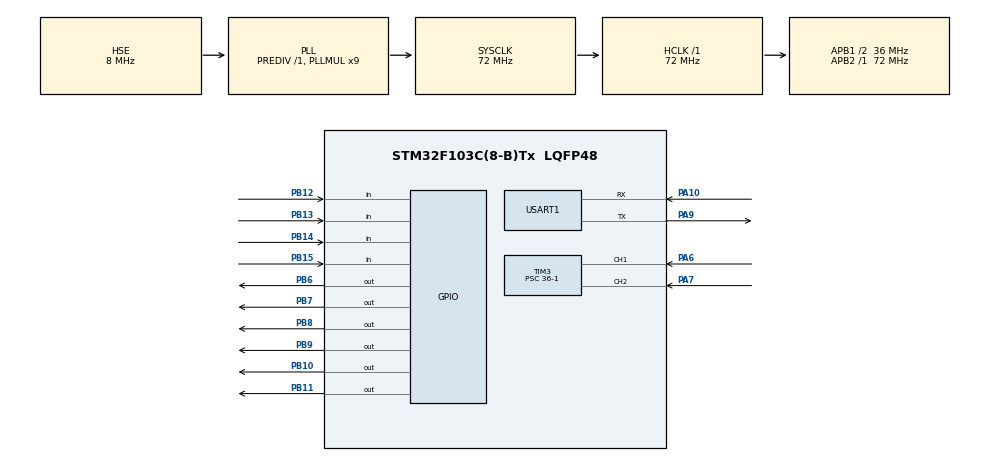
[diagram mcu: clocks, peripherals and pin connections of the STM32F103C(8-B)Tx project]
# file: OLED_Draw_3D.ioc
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Mcu.Family=STM32F1
Mcu.Name=STM32F103C(8-B)Tx
Mcu.Package=LQFP48
NVIC.PriorityGroup=NVIC_PRIORITYGROUP_4
NVIC.TIM2_IRQn=true\:0\:0\:false\:false\:true\:true\:true\:true
NVIC.TIM3_IRQn=true\:0\:0\:false\:false\:true\:true\:true\:true
PA10.Mode=Multiprocessor_communication
PA10.Signal=USART1_RX
PA13.Mode=Serial_Wire
PA13.Signal=SYS_JTMS-SWDIO
PA14.Mode=Serial_Wire
PA14.Signal=SYS_JTCK-SWCLK
PA6.Signal=S_TIM3_CH1
PA7.Signal=S_TIM3_CH2
PA9.Mode=Multiprocessor_communication
PA9.Signal=USART1_TX
PB10.Signal=GPIO_Output
PB11.Signal=GPIO_Output
PB12.GPIO_PuPd=GPIO_PULLDOWN
PB12.Signal=GPIO_Input
PB13.GPIO_PuPd=GPIO_PULLDOWN
PB13.Signal=GPIO_Input
PB14.GPIO_PuPd=GPIO_PULLDOWN
PB14.Signal=GPIO_Input
PB15.GPIO_PuPd=GPIO_PULLDOWN
PB15.Signal=GPIO_Input
PB6.Signal=GPIO_Output
PB7.Signal=GPIO_Output
PB8.Signal=GPIO_Output
PB9.Signal=GPIO_Output
PD0-OSC_IN.Mode=HSE-External-Oscillator
PD0-OSC_IN.Signal=RCC_OSC_IN
PD1-OSC_OUT.Mode=HSE-External-Oscillator
PD1-OSC_OUT.Signal=RCC_OSC_OUT
ProjectManager.HeapSize=0x200
ProjectManager.StackSize=0x400
ProjectManager.TargetToolchain=MDK-ARM V5.32
RCC.AHBFreq_Value=72000000
RCC.APB1CLKDivider=RCC_HCLK_DIV2
RCC.APB1Freq_Value=36000000
RCC.APB1TimFreq_Value=72000000
RCC.APB2Freq_Value=72000000
RCC.APB2TimFreq_Value=72000000
RCC.HCLKFreq_Value=72000000
RCC.PLLMUL=RCC_PLL_MUL9
RCC.PLLSourceVirtual=RCC_PLLSOURCE_HSE
RCC.SYSCLKFreq_VALUE=72000000
RCC.SYSCLKSource=RCC_SYSCLKSOURCE_PLLCLK
RCC.USBFreq_Value=72000000
SH.S_TIM3_CH1.0=TIM3_CH1,Input_Capture1_from_TI1
SH.S_TIM3_CH2.0=TIM3_CH2,Input_Capture2_from_TI2
TIM2.AutoReloadPreload=TIM_AUTORELOAD_PRELOAD_ENABLE
TIM2.Period=1000-1
TIM2.Prescaler=720-1
TIM3.AutoReloadPreload=TIM_AUTORELOAD_PRELOAD_ENABLE
TIM3.Channel-Input_Capture1_from_TI1=TIM_CHANNEL_1
TIM3.Channel-Input_Capture2_from_TI2=TIM_CHANNEL_2
TIM3.Period=2000-1
TIM3.Prescaler=36-1
USART1.VirtualMode=VM_ASYNC
VP_TIM2_VS_ClockSourceINT.Mode=Internal
VP_TIM3_VS_ClockSourceINT.Mode=Internal
board=custom

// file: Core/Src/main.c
/* USER CODE BEGIN Header */
/**
  ******************************************************************************
  * @file           : main.c
  * @brief          : Main program body
  ******************************************************************************
  * @attention
  *
  * Copyright (c) 2025 STMicroelectronics.
  * All rights reserved.
  *
  * This software is licensed under terms that can be found in the LICENSE file
  * in the root directory of this software component.
  * If no LICENSE file comes with this software, it is provided AS-IS.
  *
  ******************************************************************************
  */
/* USER CODE END Header */
#include "main.h"

/* USER CODE BEGIN Includes */
#include "OLED.h"
#include "Delay.h"
#include "MadgwickAHRS.h"
#include "MPU6050.h"
#include "stdio.h"
#include "Draw_3D.h"
#include "3D_Map.h"
#include "NRF24L01.h"
#include "Menu.h"
#include "encoder.h"
#include "My_Interrupt.h"
/* USER CODE END Includes */

/* USER CODE BEGIN PTD */
MPU6050Params mpu6050 = {
        .MPU6050dt = 10,
        .preMillis = 0,
        .MPU6050ERROE = {0.0f, 0.0f, 0.0f, 0.0f, 0.0f, 0.0f}
};

SensorMsg msg = {
        .A = {0.0f, 0.0f, 0.0f},
        .G = {0.0f, 0.0f, 0.0f}
};

int16_t AX, AY, AZ, GX, GY, GZ;
float x,y,z;
Menu* 	menu_p = &main_menu;
float Yaw = 0;
float Pitch = 0;
float Roll = 0;
float Yaw_copy = 0; // 用于记录Yaw角度的副�??
float Pitch_copy = 0; // 用于记录Pitch角度的副�??
float Roll_copy = 0; // 用于记录Roll角度的副�??
uint8_t Send_Flag = 0; // 用于记录发送标志位
/* USER CODE END PTD */

TIM_HandleTypeDef htim2;
TIM_HandleTypeDef htim3;

UART_HandleTypeDef huart1;

/* USER CODE BEGIN PV */
//避免使用半主机模�?????????
#if 1
#if (__ARMCC_VERSION >= 6010050)
__asm(".global __use_no_semihosting\n\t");
__asm(".global __ARM_use_no_argv \n\t");

#else
#pragma import(__use_no_semihosting)

struct __FILE
{
    int handle;

};

#endif

int _ttywrch(int ch)
{
    ch = ch;
    return ch;
}

void _sys_exit(int x)
{
    x = x;
}

char *_sys_command_string(char *cmd, int len)
{
    return NULL;
}

FILE __stdout;

int fputc(int ch, FILE *f) {
    HAL_UART_Transmit(&huart1, (uint8_t *)&ch, 1, HAL_MAX_DELAY);
    return ch;
}
#endif
/* USER CODE END PV */

void SystemClock_Config(void);
static void MX_GPIO_Init(void);
static void MX_USART1_UART_Init(void);
static void MX_TIM3_Init(void);
static void MX_TIM2_Init(void);

int main(void)
{

  /* MCU Configuration--------------------------------------------------------*/

  /* Reset of all peripherals, Initializes the Flash interface and the Systick. */
  HAL_Init();

  /* Configure the system clock */
  SystemClock_Config();

  /* Initialize all configured peripherals */
  MX_GPIO_Init();
  MX_USART1_UART_Init();
  MX_TIM3_Init();
  MX_TIM2_Init();
  /* USER CODE BEGIN 2 */
	/*Init_Zone*/
	DWT_Init();

  //菜单初始�???
  init_menu_parents();
	OLED_Init();
	OLED_Clear();
	//启动解算
	MPU6050_Init();
	begin(1000.0f / (float)mpu6050.MPU6050dt);    // Initialize the Madgwick filter with the sample frequency
  dataGetERROR();

  // Initialize NRF24L01
  NRF24L01_Init();

  // Initialize encoder

//	uint16_t SendFlag;
// int16_t object_input[MAX_POINT_NUMBER][3] = {0}; // Array to hold the object points
// generate_cube(15, object_input);

  //编码器初始化
  Encoder_Init();
  //启动定时器全�??????中断（定时器中断涉及到数据读取，必须�??????后启动）
  HAL_TIM_Encoder_Start(&htim3, TIM_CHANNEL_ALL);
  HAL_TIM_Base_Start_IT(&htim2);
  Delay_ms(100);
  /* USER CODE END 2 */

  /* Infinite loop */
  while (1)
  {

    /* USER CODE BEGIN 3 */
    //nrf_test(past)

    // SendFlag = NRF24L01_Send();
    // OLED_ShowNum(0, 3*16, SendFlag, 2, OLED_8X16); // Display the first byte of the packet
		//printf("%d\n",uwTick);

		// getMPU6050Data(); // Get data from MPU6050
    // MPU6050_GetData(&AX, &AY, &AZ, &GX, &GY, &GZ); // Get data from MPU6050

    OLED_Clear();

    if(uwTick - mpu6050.preMillis >= mpu6050.MPU6050dt) {
			mpu6050.preMillis = uwTick;
			dataGetAndFilter();
			updateIMU(msg.G[0], msg.G[1], msg.G[2], msg.A[0], msg.A[1], msg.A[2]);
		}
		Yaw = getYaw();
		Pitch = getPitch();
		Roll = getRoll();

    //备份
		Pitch_copy = Pitch;
		Roll_copy = Roll;
		Yaw_copy = Yaw;

    /******菜单显示******/
    //主菜单模式下进行主菜单显示
        //通过最后一级子菜单函数来切换主菜单与功能菜单，主菜单为0
        if(page==0){
            //执行当前菜单下的函数
            if (menu_p->func != NULL)
            {
                // 如果当前菜单有函数，则执行
                menu_p->func();
            }else
            {
                OLED_ShowString(16*4, 16*1, "No Function", OLED_8X16);
            }

            //由于获取菜单动作会消除标志位，会影响到部分函数执行，所以最后执行该动作
            temp = get_menu_action();
            menu_p = menu_navigate(menu_p, (MenuAction)temp);
            OLED_DrawMenu(menu_p);
        }else if (page==1)
        {
            /* code */
            if (menu_p->func != NULL)
            {
                // 如果当前菜单有函数，则执行
                menu_p->func();
            }else
            {
                /* code */
                OLED_ShowString(16*4, 16*2, "No Function", OLED_8X16);
            }
        }

    OLED_Update();

    // Draw the 3D object with the current orientation
		//Draw_Object_By_Map(Yaw, Pitch, Roll, 63, 0, object_input);
  }
  /* USER CODE END 3 */
}

void SystemClock_Config(void)
{
  RCC_OscInitTypeDef RCC_OscInitStruct = {0};
  RCC_ClkInitTypeDef RCC_ClkInitStruct = {0};

  /** Initializes the RCC Oscillators according to the specified parameters
  * in the RCC_OscInitTypeDef structure.
  */
  RCC_OscInitStruct.OscillatorType = RCC_OSCILLATORTYPE_HSE;
  RCC_OscInitStruct.HSEState = RCC_HSE_ON;
  RCC_OscInitStruct.HSEPredivValue = RCC_HSE_PREDIV_DIV1;
  RCC_OscInitStruct.HSIState = RCC_HSI_ON;
  RCC_OscInitStruct.PLL.PLLState = RCC_PLL_ON;
  RCC_OscInitStruct.PLL.PLLSource = RCC_PLLSOURCE_HSE;
  RCC_OscInitStruct.PLL.PLLMUL = RCC_PLL_MUL9;
  if (HAL_RCC_OscConfig(&RCC_OscInitStruct) != HAL_OK)
  {
    Error_Handler();
  }

  /** Initializes the CPU, AHB and APB buses clocks
  */
  RCC_ClkInitStruct.ClockType = RCC_CLOCKTYPE_HCLK|RCC_CLOCKTYPE_SYSCLK
                              |RCC_CLOCKTYPE_PCLK1|RCC_CLOCKTYPE_PCLK2;
  RCC_ClkInitStruct.SYSCLKSource = RCC_SYSCLKSOURCE_PLLCLK;
  RCC_ClkInitStruct.AHBCLKDivider = RCC_SYSCLK_DIV1;
  RCC_ClkInitStruct.APB1CLKDivider = RCC_HCLK_DIV2;
  RCC_ClkInitStruct.APB2CLKDivider = RCC_HCLK_DIV1;

  if (HAL_RCC_ClockConfig(&RCC_ClkInitStruct, FLASH_LATENCY_2) != HAL_OK)
  {
    Error_Handler();
  }
}

static void MX_TIM2_Init(void)
{

  TIM_ClockConfigTypeDef sClockSourceConfig = {0};
  TIM_MasterConfigTypeDef sMasterConfig = {0};

  htim2.Instance = TIM2;
  htim2.Init.Prescaler = 720-1;
  htim2.Init.CounterMode = TIM_COUNTERMODE_UP;
  htim2.Init.Period = 1000-1;
  htim2.Init.ClockDivision = TIM_CLOCKDIVISION_DIV1;
  htim2.Init.AutoReloadPreload = TIM_AUTORELOAD_PRELOAD_ENABLE;
  if (HAL_TIM_Base_Init(&htim2) != HAL_OK)
  {
    Error_Handler();
  }
  sClockSourceConfig.ClockSource = TIM_CLOCKSOURCE_INTERNAL;
  if (HAL_TIM_ConfigClockSource(&htim2, &sClockSourceConfig) != HAL_OK)
  {
    Error_Handler();
  }
  sMasterConfig.MasterOutputTrigger = TIM_TRGO_RESET;
  sMasterConfig.MasterSlaveMode = TIM_MASTERSLAVEMODE_DISABLE;
  if (HAL_TIMEx_MasterConfigSynchronization(&htim2, &sMasterConfig) != HAL_OK)
  {
    Error_Handler();
  }

}

static void MX_TIM3_Init(void)
{

  TIM_ClockConfigTypeDef sClockSourceConfig = {0};
  TIM_MasterConfigTypeDef sMasterConfig = {0};
  TIM_IC_InitTypeDef sConfigIC = {0};

  htim3.Instance = TIM3;
  htim3.Init.Prescaler = 36-1;
  htim3.Init.CounterMode = TIM_COUNTERMODE_UP;
  htim3.Init.Period = 2000-1;
  htim3.Init.ClockDivision = TIM_CLOCKDIVISION_DIV1;
  htim3.Init.AutoReloadPreload = TIM_AUTORELOAD_PRELOAD_ENABLE;
  if (HAL_TIM_Base_Init(&htim3) != HAL_OK)
  {
    Error_Handler();
  }
  sClockSourceConfig.ClockSource = TIM_CLOCKSOURCE_INTERNAL;
  if (HAL_TIM_ConfigClockSource(&htim3, &sClockSourceConfig) != HAL_OK)
  {
    Error_Handler();
  }
  if (HAL_TIM_IC_Init(&htim3) != HAL_OK)
  {
    Error_Handler();
  }
  sMasterConfig.MasterOutputTrigger = TIM_TRGO_RESET;
  sMasterConfig.MasterSlaveMode = TIM_MASTERSLAVEMODE_DISABLE;
  if (HAL_TIMEx_MasterConfigSynchronization(&htim3, &sMasterConfig) != HAL_OK)
  {
    Error_Handler();
  }
  sConfigIC.ICPolarity = TIM_INPUTCHANNELPOLARITY_RISING;
  sConfigIC.ICSelection = TIM_ICSELECTION_DIRECTTI;
  sConfigIC.ICPrescaler = TIM_ICPSC_DIV1;
  sConfigIC.ICFilter = 0;
  if (HAL_TIM_IC_ConfigChannel(&htim3, &sConfigIC, TIM_CHANNEL_1) != HAL_OK)
  {
    Error_Handler();
  }
  if (HAL_TIM_IC_ConfigChannel(&htim3, &sConfigIC, TIM_CHANNEL_2) != HAL_OK)
  {
    Error_Handler();
  }

}

static void MX_USART1_UART_Init(void)
{

  huart1.Instance = USART1;
  huart1.Init.BaudRate = 115200;
  huart1.Init.WordLength = UART_WORDLENGTH_8B;
  huart1.Init.StopBits = UART_STOPBITS_1;
  huart1.Init.Parity = UART_PARITY_NONE;
  huart1.Init.Mode = UART_MODE_TX_RX;
  huart1.Init.HwFlowCtl = UART_HWCONTROL_NONE;
  huart1.Init.OverSampling = UART_OVERSAMPLING_16;
  if (HAL_MultiProcessor_Init(&huart1, 0, UART_WAKEUPMETHOD_IDLELINE) != HAL_OK)
  {
    Error_Handler();
  }

}

static void MX_GPIO_Init(void)
{
  GPIO_InitTypeDef GPIO_InitStruct = {0};

  /* GPIO Ports Clock Enable */
  __HAL_RCC_GPIOD_CLK_ENABLE();
  __HAL_RCC_GPIOA_CLK_ENABLE();
  __HAL_RCC_GPIOB_CLK_ENABLE();

  /*Configure GPIO pin Output Level */
  HAL_GPIO_WritePin(GPIOB, GPIO_PIN_10|GPIO_PIN_11|GPIO_PIN_6|GPIO_PIN_7
                          |GPIO_PIN_8|GPIO_PIN_9, GPIO_PIN_RESET);

  /*Configure GPIO pins : PB10 PB11 PB6 PB7
                           PB8 PB9 */
  GPIO_InitStruct.Pin = GPIO_PIN_10|GPIO_PIN_11|GPIO_PIN_6|GPIO_PIN_7
                          |GPIO_PIN_8|GPIO_PIN_9;
  GPIO_InitStruct.Mode = GPIO_MODE_OUTPUT_PP;
  GPIO_InitStruct.Pull = GPIO_NOPULL;
  GPIO_InitStruct.Speed = GPIO_SPEED_FREQ_LOW;
  HAL_GPIO_Init(GPIOB, &GPIO_InitStruct);

  /*Configure GPIO pins : PB12 PB13 PB14 PB15 */
  GPIO_InitStruct.Pin = GPIO_PIN_12|GPIO_PIN_13|GPIO_PIN_14|GPIO_PIN_15;
  GPIO_InitStruct.Mode = GPIO_MODE_INPUT;
  GPIO_InitStruct.Pull = GPIO_PULLDOWN;
  HAL_GPIO_Init(GPIOB, &GPIO_InitStruct);

}

/* USER CODE BEGIN 4 */
void dataGetERROR() {
    for(uint8_t i = 0; i < 100; ++i) {
        getMPU6050Data();
        mpu6050.MPU6050ERROE[0] += msg.A[0];
        mpu6050.MPU6050ERROE[1] += msg.A[1];
        mpu6050.MPU6050ERROE[2] += msg.A[2] - 9.79;
        mpu6050.MPU6050ERROE[3] += msg.G[0];
        mpu6050.MPU6050ERROE[4] += msg.G[1];
        mpu6050.MPU6050ERROE[5] += msg.G[2];
        Delay_ms(10);
    }
    for(uint8_t i = 0; i < 6; ++i) {
        mpu6050.MPU6050ERROE[i] /= 100.0f;
    }
}

void getMPU6050Data() {
    MPU6050_GetData(&AX, &AY, &AZ, &GX, &GY, &GZ);		// Get data from MPU6050
    msg.A[0] = (float)((float)AX / (float)32768) * 16 * 9.8*(90.0/75.0)*(180.0/38.8);
    msg.A[1] = (float)((float)AY / (float)32768) * 16 * 9.8*(90.0/75.0)*(180.0/38.8);
    msg.A[2] = (float)((float)AZ / (float)32768) * 16 * 9.8*(90.0/75.0)*(180.0/38.8);
    msg.G[0] = (float)((float)GX / (float)32768) * 2000 * 3.5 *(90.0/172.0)*(90.0/84.0)*(180.0/38.8);
    msg.G[1] = (float)((float)GY / (float)32768) * 2000 * 3.5 *(90.0/172.0)*(90.0/84.0)*(180.0/38.8);
    msg.G[2] = (float)((float)GZ / (float)32768) * 2000 * 3.5 *(90.0/172.0)*(90.0/84.0)*(180.0/38.8);

}

void dataGetAndFilter() {
    getMPU6050Data();
    msg.A[0] -= mpu6050.MPU6050ERROE[0];
    msg.A[1] -= mpu6050.MPU6050ERROE[1];
    msg.A[2] -= mpu6050.MPU6050ERROE[2];
    msg.G[0] -= mpu6050.MPU6050ERROE[3];
    msg.G[1] -= mpu6050.MPU6050ERROE[4];
    msg.G[2] -= mpu6050.MPU6050ERROE[5];
}

/* USER CODE END 4 */

void Error_Handler(void)
{
  __disable_irq();
  while (1)
  {
  }
}
